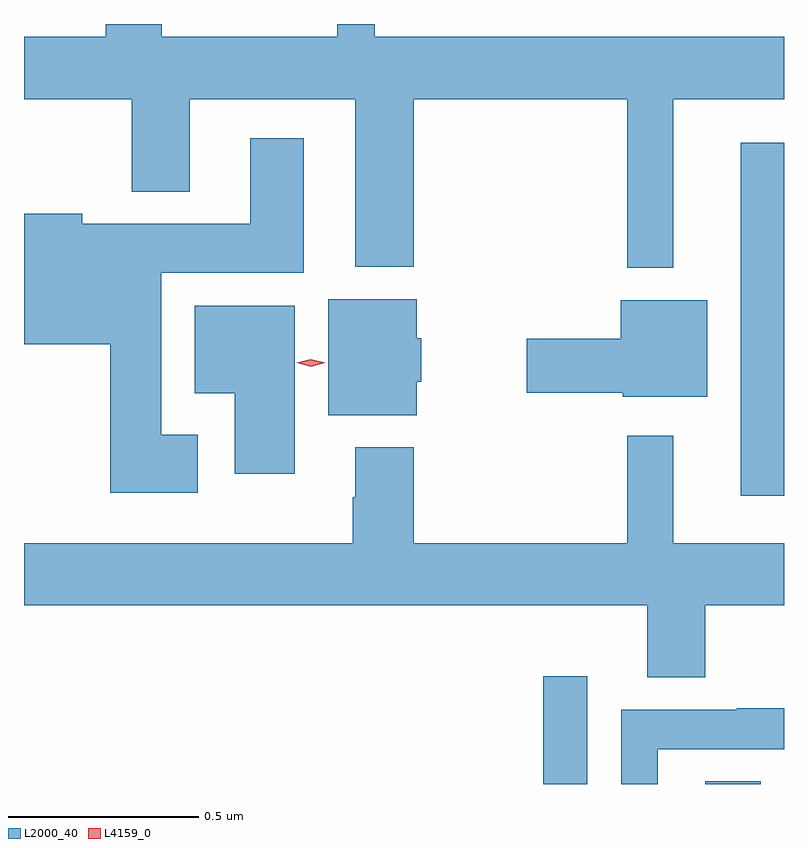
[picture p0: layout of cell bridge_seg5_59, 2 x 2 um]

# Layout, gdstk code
import gdstk
lib = gdstk.Library(unit=1e-6, precision=1e-09)
def R(c, l, rs):  # rectangles x0, y0, x1, y1
    for r in rs: c.add(gdstk.rectangle(r[:2], r[2:], *l))
def P(c, l, *ps):  # polygons
    for p in ps: c.add(gdstk.Polygon(p, *l))
L2000_40 = (2000, 40)
L4159_0 = (4159, 0)

bridge_seg5_59 = lib.new_cell('bridge_seg5_59')
R(bridge_seg5_59, L2000_40, [(758.119,885.594,758.235,885.877), (758.546,885.594,758.692,885.601), (758.639,886.353,758.753,887.281)])
P(bridge_seg5_59, L2000_40, [(758.461,887.396),(758.753,887.396),(758.753,887.56),(757.676,887.56),(757.676,887.594),(757.577,887.594),(757.577,887.56),(757.116,887.56),(757.116,887.594),(756.968,887.594),(756.968,887.56),(756.753,887.56),(756.753,887.396),(757.037,887.396),(757.037,887.153),(757.189,887.153),(757.189,887.396),(757.625,887.396),(757.625,886.955),(757.778,886.955),(757.778,887.396),(758.34,887.396),(758.34,886.952),(758.461,886.952)],
  [(757.21,886.513),(757.114,886.513),(757.114,886.94),(757.489,886.94),(757.489,887.293),(757.349,887.293),(757.349,887.068),(756.906,887.068),(756.906,887.095),(756.753,887.095),(756.753,886.751),(756.98,886.751),(756.98,886.361),(757.21,886.361)],
  [(757.786,886.653),(757.798,886.653),(757.798,886.767),(757.786,886.767),(757.786,886.87),(757.553,886.87),(757.553,886.565),(757.786,886.565)],
  [(758.551,886.867),(758.324,886.867),(758.324,886.766),(758.076,886.766),(758.076,886.624),(758.328,886.624),(758.328,886.613),(758.551,886.613)],
  [(757.465,886.852),(757.202,886.852),(757.202,886.622),(757.307,886.622),(757.307,886.41),(757.465,886.41)],
  [(758.546,886.064),(758.753,886.064),(758.753,886.228),(758.461,886.228),(758.461,886.51),(758.34,886.51),(758.34,886.228),(757.778,886.228),(757.778,886.48),(757.625,886.48),(757.625,886.349),(757.618,886.349),(757.618,886.228),(756.753,886.228),(756.753,886.064),(758.393,886.064),(758.393,885.875),(758.546,885.875)],
  [(758.421,885.686),(758.753,885.686),(758.753,885.793),(758.629,885.793),(758.629,885.79),(758.325,885.79),(758.325,885.594),(758.421,885.594)])
P(bridge_seg5_59, L4159_0, [(757.508,886.692),(757.471,886.702),(757.471,886.702),(757.471,886.703),(757.508,886.712),(757.546,886.703),(757.546,886.702),(757.546,886.702)])

lib.write_gds('bridge_seg5_59.gds')
